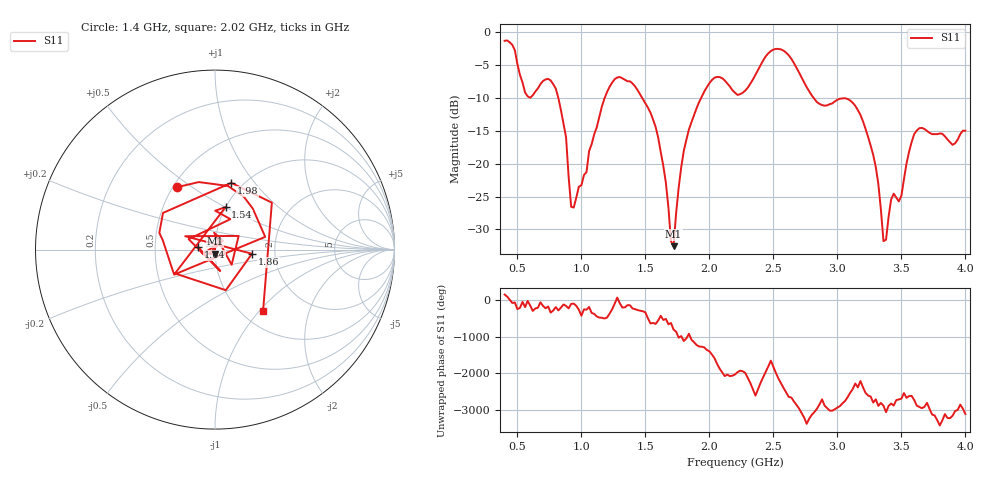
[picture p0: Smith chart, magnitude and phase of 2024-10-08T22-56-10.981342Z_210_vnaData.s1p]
! Created with skrf (http://scikit-rf.org).
# Hz S RI R 50.0
!freq ReS11 ImS11
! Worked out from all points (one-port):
!   181 points, 400 MHz to 4 GHz, reference 50 ohm
!   lowest |S11| = -32.6 dB at 1.72 GHz (marker M1), VSWR 1.05, Z = 49.9 - j2.35 ohm
!   |S11| at or under -10 dB: 820.2 MHz to 1.181 GHz (361.3 MHz wide, 36.1 % of centre); 1.475 GHz to 1.935 GHz (459.4 MHz wide, 26.9 % of centre); 2.815 GHz to end of sweep
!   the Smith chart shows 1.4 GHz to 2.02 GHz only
!   S11 on the Smith chart (normalised r, x): 1.4 GHz: 0.52, +0.44; 1.54 GHz: 1.00, +0.50; 1.64 GHz: 0.83, +0.02; 1.86 GHz: 1.52, -0.07; 1.98 GHz: 0.88, +0.77; 2.02 GHz: 1.24, -1.05
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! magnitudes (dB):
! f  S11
! 400 MHz  -1.3
! 580 MHz  -9.7
! 760 MHz  -7.3
! 860 MHz  -13.9
! 920 MHz  -26.6
! 940 MHz  -26.7
! 1.18 GHz  -10.1
! 1.3 GHz  -6.8
! 1.4 GHz  -7.8
! 1.54 GHz  -12.2
! 1.64 GHz  -20.3
! 1.72 GHz  -32.6
! 1.76 GHz  -23.6
! 1.86 GHz  -13.7
! 1.98 GHz  -8.3
! 2.02 GHz  -7.3
! 2.2 GHz  -9.2
! 2.5 GHz  -2.6
! 2.66 GHz  -4.7
! 2.86 GHz  -10.9
! 3.1 GHz  -10.4
! 3.28 GHz  -18.7
! 3.36 GHz  -31.8
! 3.42 GHz  -25.4
! 3.5 GHz  -24.9
! 3.56 GHz  -18.2
! 3.64 GHz  -14.6
! 4 GHz  -15.0
